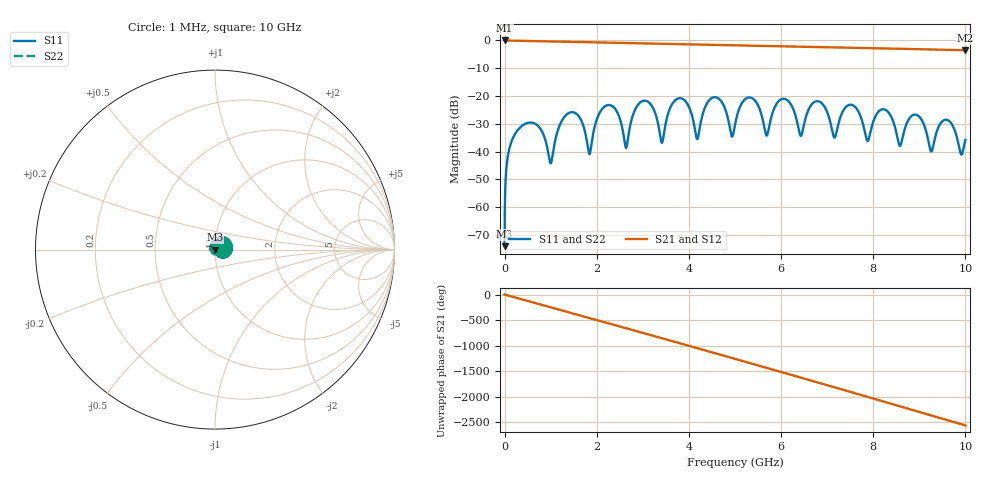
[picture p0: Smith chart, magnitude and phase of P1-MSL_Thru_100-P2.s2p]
!Created with skrf (http://scikit-rf.org).
# GHz S RI R 50.0
!freq ReS11 ImS11 ReS21 ImS21 ReS12 ImS12 ReS22 ImS22
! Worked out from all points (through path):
!   10000 points, 1 MHz to 10 GHz, reference 50 ohm
!   highest |S21| = 0.00 dB at 1 MHz (marker M1); lowest = -3.5 dB at 10 GHz (marker M2)
!   group delay of S21, straight-line fit = 711 ps
!   lowest |S11| = -74.0 dB at 1 MHz (marker M3), VSWR 1.00, Z = 50 - j0.0195 ohm
!   |S11| at or under -10 dB: start of sweep to end of sweep
!   |S22| runs from -74.0 to -20.4 dB; largest |S21 - S12| = 5.6e-16
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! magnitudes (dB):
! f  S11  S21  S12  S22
! 1 MHz  -74.0  0.0  0.0  -74.0
! 81 MHz  -40.7  0.0  0.0  -40.7
! 294 MHz  -32.1  -0.1  -0.1  -32.1
! 1 GHz  -44.2  -0.4  -0.4  -44.2
! 1.668 GHz  -28.9  -0.6  -0.6  -28.9
! 1.84 GHz  -40.9  -0.6  -0.6  -40.9
! 2.218 GHz  -23.4  -0.8  -0.8  -23.4
! 2.633 GHz  -38.6  -0.9  -0.9  -38.6
! 2.973 GHz  -22.0  -1.1  -1.1  -22.0
! 3.334 GHz  -30.2  -1.2  -1.2  -30.2
! 3.834 GHz  -20.8  -1.4  -1.4  -20.8
! 4.185 GHz  -35.5  -1.4  -1.4  -35.5
! 4.562 GHz  -20.4  -1.6  -1.6  -20.4
! 5.001 GHz  -30.3  -1.7  -1.7  -30.3
! 6.067 GHz  -21.0  -2.1  -2.1  -21.0
! 6.432 GHz  -34.3  -2.2  -2.2  -34.3
! 6.667 GHz  -23.0  -2.3  -2.3  -23.0
! 7.159 GHz  -35.0  -2.5  -2.5  -35.0
! 8.334 GHz  -25.9  -2.9  -2.9  -25.9
! 8.577 GHz  -37.9  -3.0  -3.0  -37.9
! 8.905 GHz  -26.7  -3.1  -3.1  -26.7
! 10 GHz  -35.8  -3.5  -3.5  -35.8
